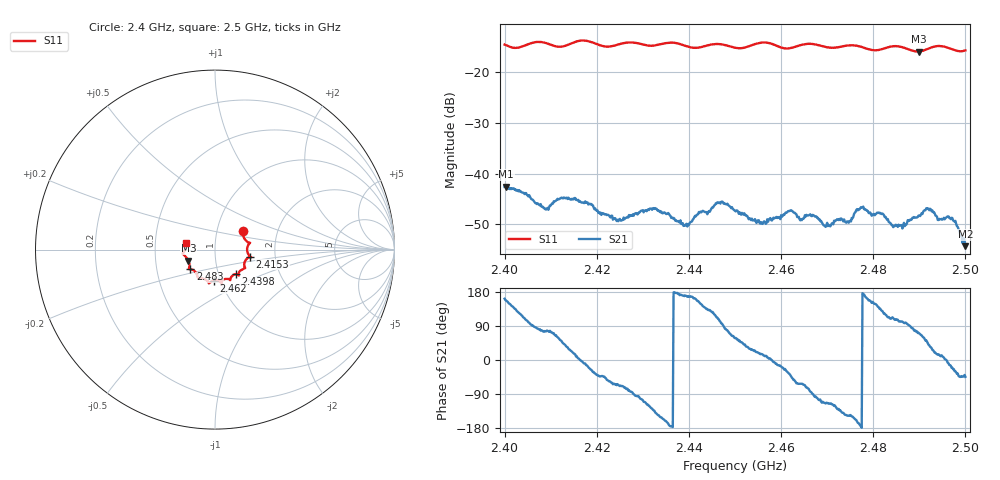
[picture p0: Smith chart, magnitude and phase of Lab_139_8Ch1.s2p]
# Hz S RI R 50
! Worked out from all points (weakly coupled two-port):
!   601 points, 2.4 GHz to 2.5 GHz, reference 50 ohm
!   highest |S21| = -42.55 dB at 2.4003 GHz (marker M1); lowest = -54.3 dB at 2.5 GHz (marker M2)
!   lowest |S11| = -15.9 dB at 2.4898 GHz (marker M3), VSWR 1.38, Z = 36.8 - j4.64 ohm
!   |S11| at or under -10 dB: start of sweep to end of sweep
!   S12 and S22 are empty: the file has one direction only
!   S11 on the Smith chart (normalised r, x): 2.4 GHz: 1.33, +0.29; 2.4153 GHz: 1.48, -0.12; 2.4398 GHz: 1.21, -0.34; 2.462 GHz: 0.93, -0.33; 2.483 GHz: 0.74, -0.17; 2.5 GHz: 0.72, +0.06
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2.4e9  0.155 0.1064  -0.00702 0.00231  0 0  0 0
2.400333e9  0.1548 0.1017  -0.00684 0.00296  0 0  0 0
2.409e9  0.1915 0.034  0.00109 0.00428  0 0  0 0
2.415333e9  0.196 -0.0391  0.00555 0.00145  0 0  0 0
2.416667e9  0.2015 -0.0426  0.00518 -0.000276  0 0  0 0
2.424833e9  0.1645 -0.0942  0.00135 -0.00325  0 0  0 0
2.433333e9  0.1311 -0.1338  -0.0036 -0.00246  0 0  0 0
2.439833e9  0.1152 -0.1368  -0.00311 0.000613  0 0  0 0
2.446167e9  0.0849 -0.1704  -0.00195 0.00483  0 0  0 0
2.45e9  0.0645 -0.1628  0.0023 0.00364  0 0  0 0
2.456333e9  0.0386 -0.1933  0.00331 0.000674  0 0  0 0
2.462e9  -0.00516 -0.1733  0.00333 -0.00276  0 0  0 0
2.466667e9  -0.0344 -0.1876  0.000215 -0.0038  0 0  0 0
2.470167e9  -0.0496 -0.1693  -0.00121 -0.00278  0 0  0 0
2.477667e9  -0.0979 -0.1473  -0.00465 0.0003  0 0  0 0
2.483e9  -0.1372 -0.1095  -0.00147 0.00318  0 0  0 0
2.483333e9  -0.1398 -0.1093  -0.00134 0.00307  0 0  0 0
2.486667e9  -0.1437 -0.1  -0.000446 0.00324  0 0  0 0
2.489833e9  -0.1482 -0.0613  0.0012 0.00366  0 0  0 0
2.492e9  -0.1679 -0.035  0.00344 0.00293  0 0  0 0
2.496667e9  -0.172 -0.0105  0.00355 -0.000855  0 0  0 0
2.5e9  -0.1599 0.0388  0.00137 -0.00135  0 0  0 0
